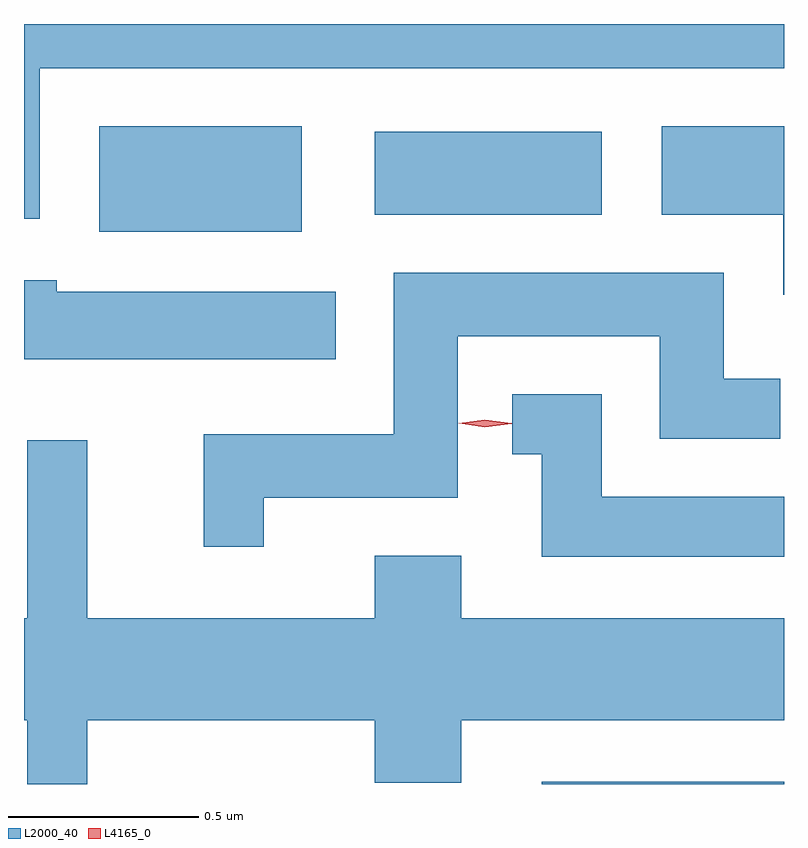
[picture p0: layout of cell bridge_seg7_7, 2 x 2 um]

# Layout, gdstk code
import gdstk
lib = gdstk.Library(unit=1e-6, precision=1e-09)
def R(c, l, rs):  # rectangles x0, y0, x1, y1
    for r in rs: c.add(gdstk.rectangle(r[:2], r[2:], *l))
def P(c, l, *ps):  # polygons
    for p in ps: c.add(gdstk.Polygon(p, *l))
L2000_40 = (2000, 40)
L4165_0 = (4165, 0)

bridge_seg7_7 = lib.new_cell('bridge_seg7_7')
R(bridge_seg7_7, L2000_40, [(1669.421,1771.868,1670.058,1771.874), (1668.256,1773.321,1668.789,1773.599), (1668.981,1773.366,1669.579,1773.584)])
P(bridge_seg7_7, L2000_40, [(1668.099,1773.751),(1670.058,1773.751),(1670.058,1773.868),(1668.058,1773.868),(1668.058,1773.356),(1668.099,1773.356)],
  [(1670.058,1773.599),(1669.736,1773.599),(1669.736,1773.366),(1670.056,1773.366),(1670.056,1773.156),(1670.058,1773.156)],
  [(1668.689,1772.621),(1669.199,1772.621),(1669.199,1773.046),(1669.731,1773.046),(1669.731,1772.776),(1670.048,1772.776),(1670.048,1772.934),(1669.899,1772.934),(1669.899,1773.214),(1669.031,1773.214),(1669.031,1772.789),(1668.531,1772.789),(1668.531,1772.493),(1668.689,1772.493)],
  [(1668.879,1773.164),(1668.144,1773.164),(1668.144,1773.194),(1668.058,1773.194),(1668.058,1772.986),(1668.879,1772.986)],
  [(1670.058,1772.624),(1669.579,1772.624),(1669.579,1772.894),(1669.343,1772.894),(1669.343,1772.736),(1669.421,1772.736),(1669.421,1772.466),(1670.058,1772.466)],
  [(1668.224,1772.036),(1668.981,1772.036),(1668.981,1771.871),(1669.209,1771.871),(1669.209,1772.036),(1670.058,1772.036),(1670.058,1772.304),(1669.209,1772.304),(1669.209,1772.469),(1668.981,1772.469),(1668.981,1772.304),(1668.224,1772.304),(1668.224,1772.773),(1668.066,1772.773),(1668.066,1772.304),(1668.058,1772.304),(1668.058,1772.036),(1668.066,1772.036),(1668.066,1771.868),(1668.224,1771.868)])
P(bridge_seg7_7, L4165_0, [(1669.271,1772.807),(1669.202,1772.817),(1669.202,1772.817),(1669.202,1772.818),(1669.271,1772.827),(1669.341,1772.817),(1669.341,1772.817),(1669.341,1772.816)])

lib.write_gds('bridge_seg7_7.gds')
